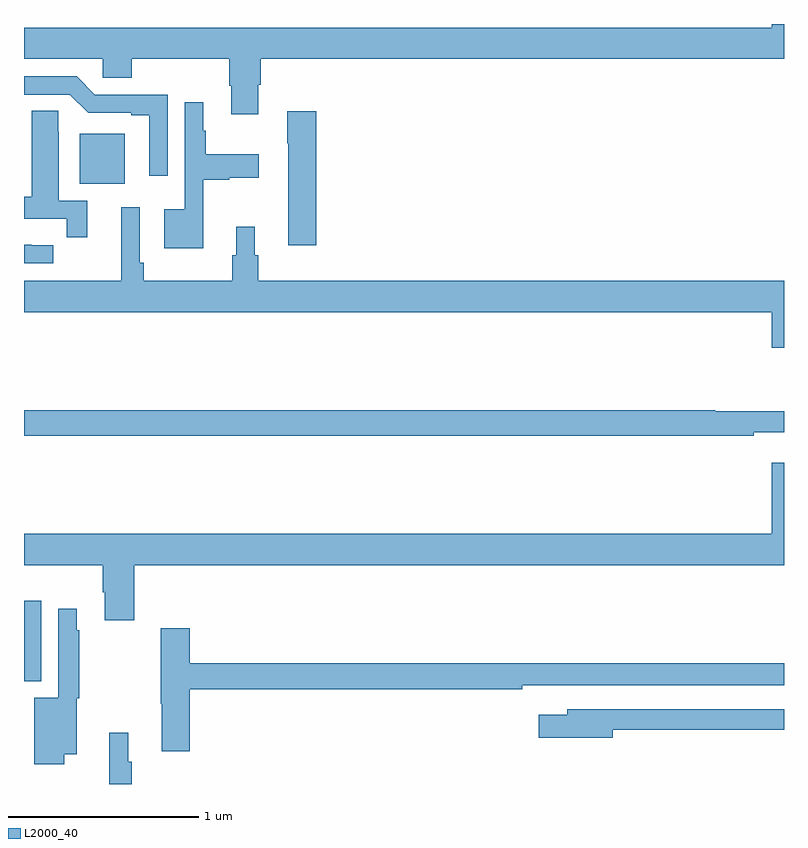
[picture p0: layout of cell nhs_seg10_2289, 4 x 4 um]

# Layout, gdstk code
import gdstk
lib = gdstk.Library(unit=1e-6, precision=1e-09)
def R(c, l, rs):  # rectangles x0, y0, x1, y1
    for r in rs: c.add(gdstk.rectangle(r[:2], r[2:], *l))
def P(c, l, *ps):  # polygons
    for p in ps: c.add(gdstk.Polygon(p, *l))
L2000_40 = (2000, 40)

nhs_seg10_2289 = lib.new_cell('nhs_seg10_2289')
R(nhs_seg10_2289, L2000_40, [(233,1297.04,233.091,1297.464), (233.294,1299.659,233.53,1299.922)])
P(nhs_seg10_2289, L2000_40, [(234.232,1300.179),(234.245,1300.179),(234.245,1300.316),(237,1300.316),(237,1300.5),(236.936,1300.5),(236.936,1300.48),(233,1300.48),(233,1300.316),(233.415,1300.316),(233.415,1300.218),(233.567,1300.218),(233.567,1300.316),(234.08,1300.316),(234.08,1300.174),(234.092,1300.174),(234.092,1300.026),(234.232,1300.026)],
  [(233.757,1300.128),(233.373,1300.128),(233.277,1300.224),(233,1300.224),(233,1300.128),(233.241,1300.128),(233.337,1300.032),(233.564,1300.032),(233.564,1300.02),(233.66,1300.02),(233.66,1299.702),(233.757,1299.702)],
  [(233.944,1299.68),(234.081,1299.68),(234.081,1299.692),(234.235,1299.692),(234.235,1299.814),(233.956,1299.814),(233.956,1299.938),(233.944,1299.938),(233.944,1300.087),(233.847,1300.087),(233.847,1299.526),(233.738,1299.526),(233.738,1299.32),(233.944,1299.32)],
  [(233.333,1299.57),(233.182,1299.57),(233.182,1299.932),(233.181,1299.932),(233.181,1300.043),(233.042,1300.043),(233.042,1299.591),(233,1299.591),(233,1299.474),(233.224,1299.474),(233.224,1299.378),(233.333,1299.378)],
  [(234.539,1300.042),(234.385,1300.042),(234.385,1299.872),(234.392,1299.872),(234.392,1299.336),(234.539,1299.336)],
  [(237,1299.148),(234.233,1299.148),(234.233,1299.282),(234.214,1299.282),(234.214,1299.433),(234.116,1299.433),(234.116,1299.282),(234.097,1299.282),(234.097,1299.148),(233.63,1299.148),(233.63,1299.244),(233.61,1299.244),(233.61,1299.535),(233.513,1299.535),(233.513,1299.148),(233,1299.148),(233,1298.984),(236.936,1298.984),(236.936,1298.796),(237,1298.796)],
  [(233.155,1299.336),(233.042,1299.336),(233.042,1299.337),(233,1299.337),(233,1299.24),(233.155,1299.24)],
  [(236.84,1298.351),(237,1298.351),(237,1298.461),(236.638,1298.461),(236.638,1298.468),(233,1298.468),(233,1298.332),(236.84,1298.332)],
  [(233.579,1297.652),(237,1297.652),(237,1298.191),(236.936,1298.191),(236.936,1297.816),(233,1297.816),(233,1297.652),(233.414,1297.652),(233.414,1297.51),(233.426,1297.51),(233.426,1297.362),(233.579,1297.362)],
  [(233.212,1296.656),(233.278,1296.656),(233.278,1296.951),(233.29,1296.951),(233.29,1297.31),(233.278,1297.31),(233.278,1297.423),(233.181,1297.423),(233.181,1296.955),(233.054,1296.955),(233.054,1296.603),(233.212,1296.603)],
  [(233.873,1297),(235.622,1297),(235.622,1297.02),(237,1297.02),(237,1297.136),(233.873,1297.136),(233.873,1297.321),(233.719,1297.321),(233.719,1296.923),(233.726,1296.923),(233.726,1296.672),(233.873,1296.672)],
  [(236.098,1296.786),(237,1296.786),(237,1296.894),(235.859,1296.894),(235.859,1296.865),(235.71,1296.865),(235.71,1296.743),(236.098,1296.743)],
  [(233.567,1296.618),(233.548,1296.618),(233.548,1296.769),(233.449,1296.769),(233.449,1296.5),(233.567,1296.5)])

lib.write_gds('nhs_seg10_2289.gds')
